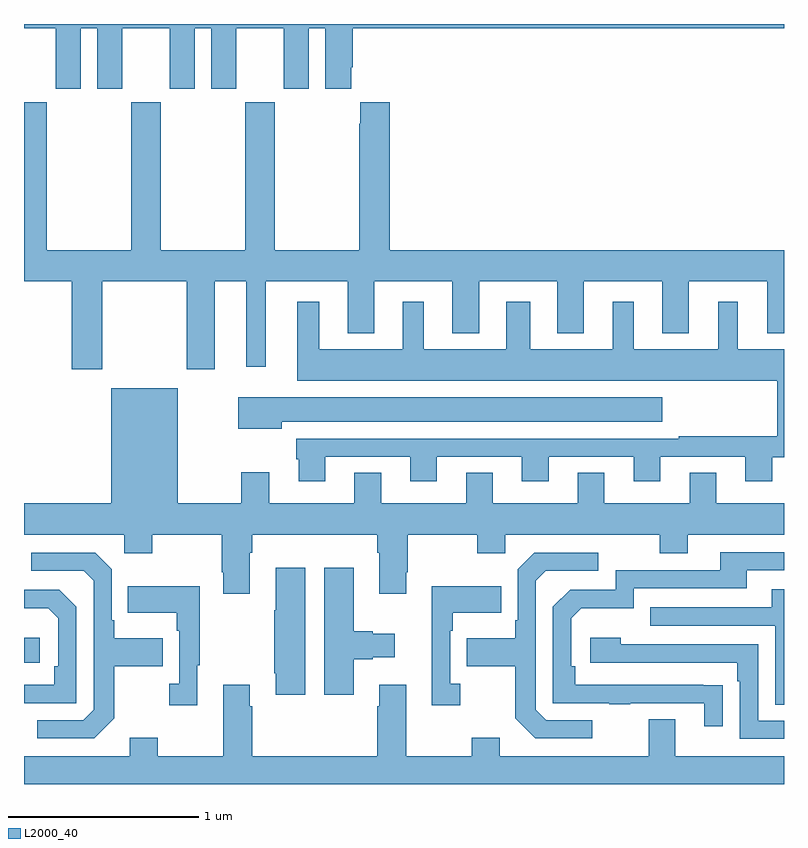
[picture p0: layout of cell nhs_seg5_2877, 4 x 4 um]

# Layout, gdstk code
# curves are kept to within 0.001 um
import gdstk
lib = gdstk.Library(unit=1e-6, precision=1e-09)
def R(c, l, rs):  # rectangles x0, y0, x1, y1
    for r in rs: c.add(gdstk.rectangle(r[:2], r[2:], *l))
def P(c, l, *ps):  # polygons
    for p in ps: c.add(gdstk.Polygon(p, *l))
L2000_40 = (2000, 40)

nhs_seg5_2877 = lib.new_cell('nhs_seg5_2877')
R(nhs_seg5_2877, L2000_40, [(279,837.438,279.082,837.568)])
P(nhs_seg5_2877, L2000_40, [(279.298,840.776),(279.386,840.776),(279.386,840.459),(279.517,840.459),(279.517,840.776),(279.767,840.776),(279.767,840.459),(279.898,840.459),(279.898,840.776),(279.986,840.776),(279.986,840.459),(280.117,840.459),(280.117,840.776),(280.367,840.776),(280.367,840.459),(280.498,840.459),(280.498,840.776),(280.586,840.776),(280.586,840.459),(280.723,840.459),(280.723,840.571),(280.73,840.571),(280.73,840.776),(283,840.776),(283,840.799),(279,840.799),(279,840.776),(279.167,840.776),(279.167,840.459),(279.298,840.459)],
  [(280.925,840.388),(280.769,840.388),(280.769,840.275),(280.765,840.275),(280.765,839.608),(280.32,839.608),(280.32,840.388),(280.165,840.388),(280.165,839.608),(279.72,839.608),(279.72,840.388),(279.565,840.388),(279.565,839.608),(279.12,839.608),(279.12,840.388),(279,840.388),(279,839.444),(279.251,839.444),(279.251,838.983),(279.411,838.983),(279.411,839.444),(279.856,839.444),(279.856,838.983),(280.003,838.983),(280.003,839.444),(280.169,839.444),(280.169,838.995),(280.273,838.995),(280.273,839.444),(280.703,839.444),(280.703,839.171),(280.843,839.171),(280.843,839.444),(281.255,839.444),(281.255,839.171),(281.395,839.171),(281.395,839.444),(281.807,839.444),(281.807,839.171),(281.947,839.171),(281.947,839.444),(282.359,839.444),(282.359,839.171),(282.499,839.171),(282.499,839.444),(282.911,839.444),(282.911,839.171),(283,839.171),(283,839.608),(280.925,839.608)],
  [(280.585,838.521),(281.033,838.521),(281.033,838.392),(281.173,838.392),(281.173,838.521),(281.621,838.521),(281.621,838.392),(281.761,838.392),(281.761,838.521),(282.209,838.521),(282.209,838.392),(282.349,838.392),(282.349,838.521),(282.797,838.521),(282.797,838.392),(282.937,838.392),(282.937,838.52),(283,838.52),(283,839.086),(282.757,839.086),(282.757,839.338),(282.653,839.338),(282.653,839.086),(282.208,839.086),(282.208,839.338),(282.098,839.338),(282.098,839.086),(281.665,839.086),(281.665,839.338),(281.537,839.338),(281.537,839.086),(281.104,839.086),(281.104,839.338),(280.994,839.338),(280.994,839.086),(280.555,839.086),(280.555,839.338),(280.439,839.338),(280.439,838.922),(282.965,838.922),(282.965,838.63),(282.445,838.63),(282.445,838.617),(280.433,838.617),(280.433,838.509),(280.445,838.509),(280.445,838.392),(280.585,838.392)],
  [(279.808,838.882),(279.458,838.882),(279.458,838.276),(279,838.276),(279,838.112),(279.528,838.112),(279.528,838.013),(279.675,838.013),(279.675,838.112),(280.042,838.112),(280.042,837.913),(280.049,837.913),(280.049,837.801),(280.189,837.801),(280.189,838.016),(280.202,838.016),(280.202,838.112),(280.859,838.112),(280.859,838.016),(280.871,838.016),(280.871,837.801),(281.011,837.801),(281.011,837.913),(281.019,837.913),(281.019,838.112),(281.386,838.112),(281.386,838.013),(281.532,838.013),(281.532,838.112),(282.346,838.112),(282.346,838.013),(282.493,838.013),(282.493,838.112),(283,838.112),(283,838.276),(282.643,838.276),(282.643,838.436),(282.503,838.436),(282.503,838.276),(282.055,838.276),(282.055,838.436),(281.915,838.436),(281.915,838.276),(281.467,838.276),(281.467,838.436),(281.327,838.436),(281.327,838.276),(280.879,838.276),(280.879,838.436),(280.739,838.436),(280.739,838.276),(280.291,838.276),(280.291,838.441),(280.144,838.441),(280.144,838.276),(279.808,838.276)],
  [(280.357,838.706),(282.358,838.706),(282.358,838.834),(280.128,838.834),(280.128,838.67),(280.357,838.67)],
  [(282.677,837.32),(281.9,837.321),(281.9,837.418),(281.88,837.418),(281.88,837.672),(281.933,837.725),(282.21,837.725),(282.21,837.828),(282.805,837.828),(282.805,837.924),(283,837.924),(283,838.02),(282.665,838.02),(282.665,837.924),(282.114,837.924),(282.114,837.822),(281.874,837.822),(281.784,837.732),(281.784,837.225),(282.079,837.225),(282.079,837.22),(282.191,837.22),(282.191,837.225),(282.581,837.225),(282.581,837.102),(282.677,837.102)],
  [(281.992,837.135),(281.748,837.135),(281.694,837.189),(281.694,837.87),(281.745,837.921),(282.022,837.921),(282.022,838.017),(281.685,838.017),(281.598,837.93),(281.598,837.661),(281.586,837.661),(281.586,837.565),(281.329,837.565),(281.329,837.418),(281.586,837.418),(281.586,837.145),(281.691,837.039),(281.992,837.039)],
  [(279.475,837.145),(279.475,837.418),(279.731,837.418),(279.731,837.565),(279.475,837.565),(279.475,837.661),(279.462,837.661),(279.462,837.93),(279.375,838.017),(279.039,838.017),(279.039,837.921),(279.315,837.921),(279.366,837.87),(279.366,837.189),(279.312,837.135),(279.069,837.135),(279.069,837.039),(279.369,837.039)],
  [(280.735,837.455),(280.835,837.455),(280.835,837.467),(280.951,837.467),(280.951,837.589),(280.835,837.589),(280.835,837.602),(280.735,837.602),(280.735,837.937),(280.58,837.937),(280.58,837.27),(280.735,837.27)],
  [(280.48,837.937),(280.325,837.937),(280.325,837.713),(280.318,837.713),(280.318,837.382),(280.325,837.382),(280.325,837.27),(280.48,837.27)],
  [(281.296,837.326),(281.244,837.326),(281.244,837.605),(281.257,837.605),(281.257,837.701),(281.513,837.701),(281.513,837.841),(281.147,837.841),(281.147,837.213),(281.296,837.213)],
  [(279.913,837.425),(279.925,837.425),(279.925,837.841),(279.547,837.841),(279.547,837.701),(279.804,837.701),(279.804,837.605),(279.816,837.605),(279.816,837.326),(279.765,837.326),(279.765,837.213),(279.913,837.213)],
  [(283,837.823),(282.935,837.823),(282.935,837.729),(282.295,837.729),(282.295,837.633),(282.954,837.633),(282.954,837.217),(283,837.217)],
  [(279.276,837.732),(279.186,837.822),(279,837.822),(279,837.725),(279.127,837.725),(279.18,837.672),(279.18,837.418),(279.16,837.418),(279.16,837.321),(279,837.321),(279,837.225),(279.276,837.225)],
  [(283,837.132),(282.864,837.132),(282.864,837.534),(282.14,837.534),(282.14,837.568),(281.979,837.568),(281.979,837.438),(282.755,837.438),(282.755,837.341),(282.768,837.341),(282.768,837.036),(283,837.036)],
  [(283,836.944),(282.427,836.944),(282.427,837.139),(282.287,837.139),(282.287,836.944),(281.503,836.944),(281.503,837.043),(281.356,837.043),(281.356,836.944),(281.011,836.944),(281.011,837.322),(280.871,837.322),(280.871,837.209),(280.859,837.209),(280.859,836.944),(280.202,836.944),(280.202,837.209),(280.189,837.209),(280.189,837.322),(280.049,837.322),(280.049,836.944),(279.705,836.944),(279.705,837.043),(279.557,837.043),(279.557,836.944),(279,836.944),(279,836.799),(283,836.799)])

lib.write_gds('nhs_seg5_2877.gds')
